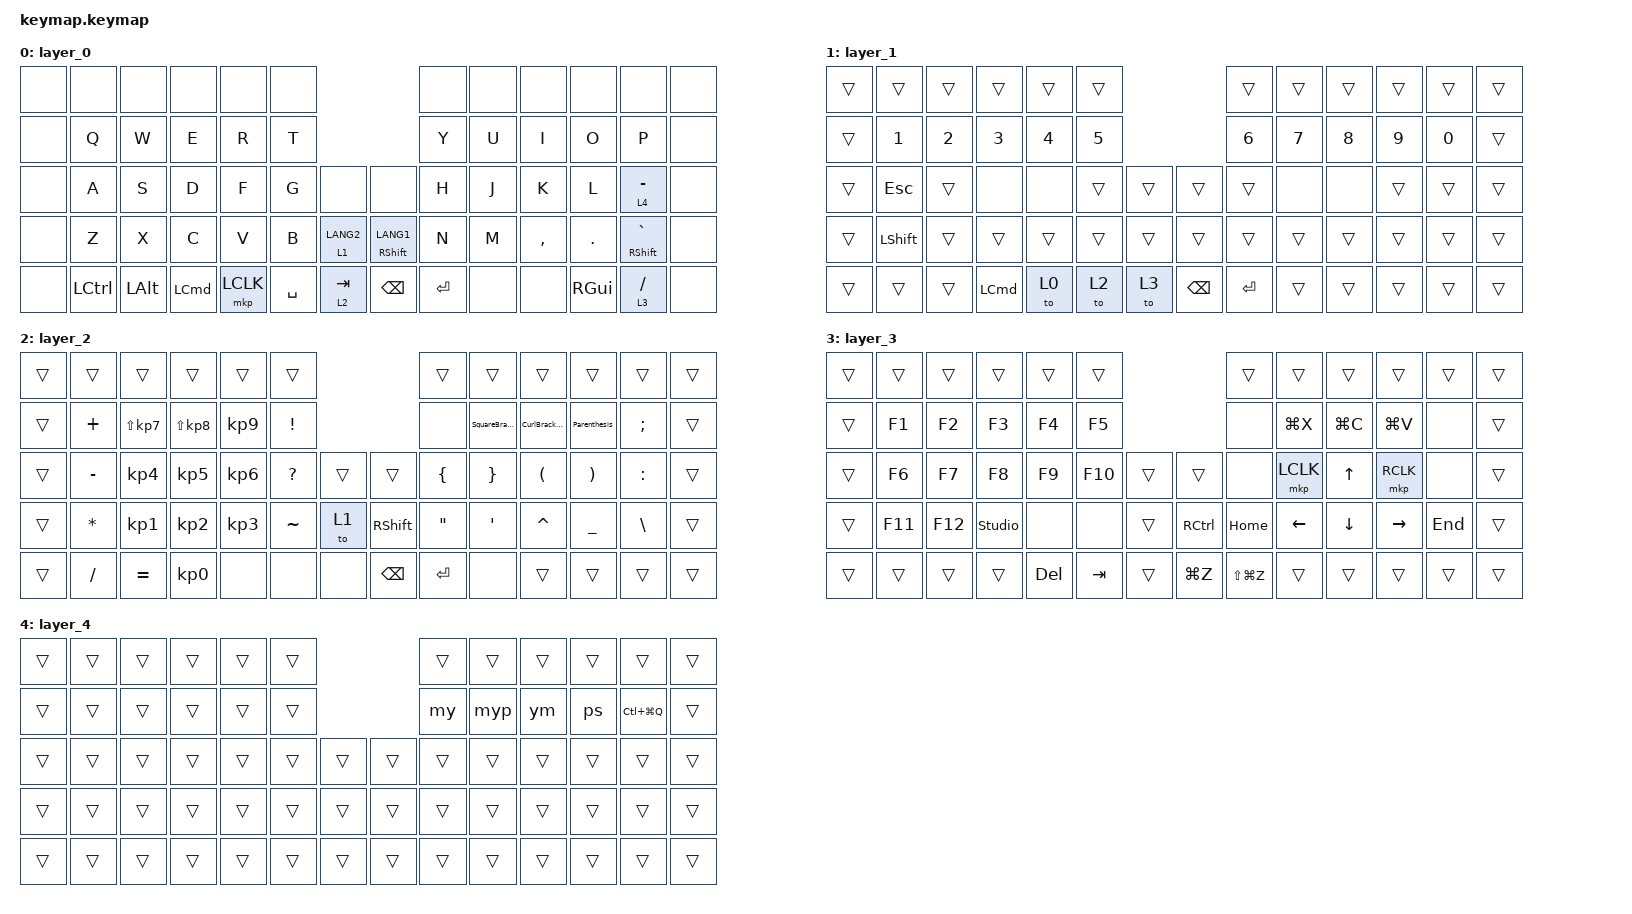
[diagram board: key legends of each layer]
#include <behaviors.dtsi>
#include <dt-bindings/zmk/bt.h>
#include <dt-bindings/zmk/keys.h>
#include <dt-bindings/zmk/pointing.h>

/ {
    combos {
        compatible = "zmk,combos";

        bt_clear {
            bindings = <&bt BT_CLR>;
            key-positions = <28 29>;
            layers = <2>;
        };
    };

    macros {
        ps: ps {
            compatible = "zmk,behavior-macro";
            #binding-cells = <0>;
            bindings = <&kp LS(Y) &kp U &kp M &kp E &kp M &kp I &kp N6 &kp N1 &kp N1 &kp N9>;
            label = "PS";
        };

        ym: ym {
            compatible = "zmk,behavior-macro";
            #binding-cells = <0>;
            bindings = <&kp S &kp UNDER &kp K &kp I &kp Y &kp O &kp U &kp R &kp A &kp AT &kp Y &kp U &kp M &kp E &kp M &kp I &kp DOT &kp C &kp O &kp DOT &kp J &kp P>;
            label = "YM";
        };

        my: my {
            compatible = "zmk,behavior-macro";
            #binding-cells = <0>;
            bindings = <&kp M &kp A &kp UNDER &kp M &kp A &kp T &kp S &kp U &kp M &kp O &kp T &kp O &kp AT &kp Y &kp U &kp M &kp E &kp M &kp I &kp DOT &kp C &kp O &kp DOT &kp J &kp P>;
            label = "MY";
        };

        myp: myp {
            compatible = "zmk,behavior-macro";
            #binding-cells = <0>;
            bindings = <&kp Q &kp W &kp E &kp R &kp N1 &kp N2 &kp N3 &kp N4 &kp N5 &kp EXCL &kp EXCL>;
            label = "MYP";
        };

        SquareBrackets: SquareBrackets {
            compatible = "zmk,behavior-macro";
            #binding-cells = <0>;
            bindings = <&kp LEFT_BRACKET &kp RIGHT_BRACKET &kp LEFT>;
            label = "SQUAREBRACKETS";
        };

        CurlBrackets: CurlBrackets {
            compatible = "zmk,behavior-macro";
            #binding-cells = <0>;
            bindings = <&kp LEFT_BRACE &kp RIGHT_BRACE &kp LEFT>;
            label = "CURLBRACKETS";
        };

        Parenthesis: Brackets {
            compatible = "zmk,behavior-macro";
            #binding-cells = <0>;
            bindings = <&kp LEFT_PARENTHESIS &kp RIGHT_PARENTHESIS &kp LEFT>;
            label = "BRACKETS";
        };
    };

    keymap {
        compatible = "zmk,keymap";

        layer_0 {
            bindings = <
&none  &none      &none         &none             &none      &none                                          &none    &none  &none      &none     &none                  &none
&none  &kp Q      &kp W         &kp E             &kp R      &kp T                                          &kp Y    &kp U  &kp I      &kp O     &kp P                  &none
&none  &kp A      &kp S         &kp D             &kp F      &kp G      &none        &none                  &kp H    &kp J  &kp K      &kp L     &lt 4 MINUS            &none
&none  &kp Z      &kp X         &kp C             &kp V      &kp B      &lt 1 LANG2  &mt RIGHT_SHIFT LANG1  &kp N    &kp M  &kp COMMA  &kp DOT   &mt RIGHT_SHIFT GRAVE  &none
&none  &kp LCTRL  &kp LEFT_ALT  &kp LEFT_COMMAND  &mkp LCLK  &kp SPACE  &lt 2 TAB    &kp BACKSPACE          &kp RET  &none  &none      &kp RGUI  &lt 3 SLASH            &none
            >;
        };

        layer_1 {
            bindings = <
&trans  &trans          &trans        &trans            &trans        &trans                         &trans        &trans  &trans  &trans  &trans  &trans
&trans  &kp NUMBER_1    &kp NUMBER_2  &kp NUMBER_3      &kp NUMBER_4  &kp N5                         &kp NUMBER_6  &kp N7  &kp N8  &kp N9  &kp N0  &trans
&trans  &kp ESC         &trans        &none             &none         &trans  &trans  &trans         &trans        &none   &none   &trans  &trans  &trans
&trans  &kp LEFT_SHIFT  &trans        &trans            &trans        &trans  &trans  &trans         &trans        &trans  &trans  &trans  &trans  &trans
&trans  &trans          &trans        &kp LEFT_COMMAND  &to 0         &to 2   &to 3   &kp BACKSPACE  &kp RET       &trans  &trans  &trans  &trans  &trans
            >;
        };

        layer_2 {
            bindings = <
&trans  &trans     &trans               &trans               &trans           &trans                                    &trans             &trans           &trans                &trans                 &trans         &trans
&trans  &kp PLUS   &kp LS(KP_NUMBER_7)  &kp LS(KP_NUMBER_8)  &kp KP_NUMBER_9  &kp EXCLAMATION                           &none              &SquareBrackets  &CurlBrackets         &Parenthesis           &kp SEMICOLON  &trans
&trans  &kp MINUS  &kp KP_NUMBER_4      &kp KP_NUMBER_5      &kp KP_NUMBER_6  &kp QUESTION     &trans  &trans           &kp LEFT_BRACE     &kp RIGHT_BRACE  &kp LEFT_PARENTHESIS  &kp RIGHT_PARENTHESIS  &kp COLON      &trans
&trans  &kp ASTRK  &kp KP_NUMBER_1      &kp KP_NUMBER_2      &kp KP_NUMBER_3  &kp TILDE        &to 1   &kp RIGHT_SHIFT  &kp DOUBLE_QUOTES  &kp APOS         &kp CARET             &kp UNDER              &kp BACKSLASH  &trans
&trans  &kp SLASH  &kp EQUAL            &kp KP_NUMBER_0      &none            &none            &none   &kp BACKSPACE    &kp RET            &none            &trans                &trans                 &trans         &trans
            >;
        };

        layer_3 {
            bindings = <
&trans  &trans   &trans   &trans          &trans      &trans                              &trans         &trans     &trans        &trans     &trans   &trans
&trans  &kp F1   &kp F2   &kp F3          &kp F4      &kp F5                              &none          &kp LG(X)  &kp LG(C)     &kp LG(V)  &none    &trans
&trans  &kp F6   &kp F7   &kp F8          &kp F9      &kp F10  &trans  &trans             &none          &mkp LCLK  &kp UP_ARROW  &mkp RCLK  &none    &trans
&trans  &kp F11  &kp F12  &studio_unlock  &none       &none    &trans  &kp RIGHT_CONTROL  &kp HOME       &kp LEFT   &kp DOWN      &kp RIGHT  &kp END  &trans
&trans  &trans   &trans   &trans          &kp DELETE  &kp TAB  &trans  &kp LG(Z)          &kp LS(LG(Z))  &trans     &trans        &trans     &trans   &trans
            >;
        };

        layer_4 {
            bindings = <
&trans  &trans  &trans  &trans  &trans  &trans                  &trans  &trans  &trans  &trans  &trans         &trans
&trans  &trans  &trans  &trans  &trans  &trans                  &my     &myp    &ym     &ps     &kp LC(LG(Q))  &trans
&trans  &trans  &trans  &trans  &trans  &trans  &trans  &trans  &trans  &trans  &trans  &trans  &trans         &trans
&trans  &trans  &trans  &trans  &trans  &trans  &trans  &trans  &trans  &trans  &trans  &trans  &trans         &trans
&trans  &trans  &trans  &trans  &trans  &trans  &trans  &trans  &trans  &trans  &trans  &trans  &trans         &trans
            >;
        };
    };
};
